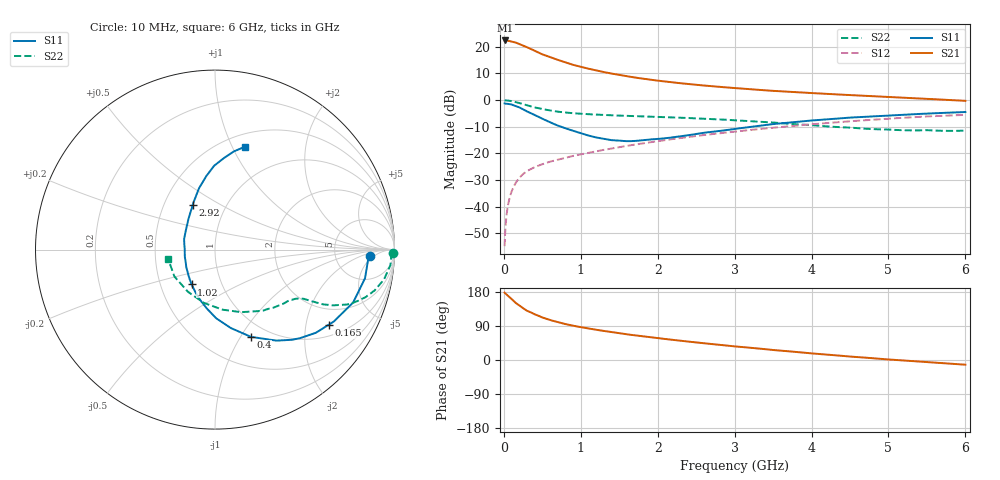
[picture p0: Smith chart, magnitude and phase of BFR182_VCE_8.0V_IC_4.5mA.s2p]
! Infineon Technologies  Discrete & RF Semiconductors
! BFR182
! VCE =  8.0 V,  IC =  4.5 mA
! Common Emitter S-Parameters:  Nov 2015
# GHz  S  MA  R  50
!  f  S11  S21  S12  S22
! GHz  MAG  ANG  MAG  ANG  MAG  ANG  MAG  ANG
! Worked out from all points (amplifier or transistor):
!   210 points, 10 MHz to 6 GHz, reference 50 ohm
!   highest |S21| = 22.4 dB at 20 MHz (marker M1)
!   |S21| within 3 dB of that: start of sweep to 336.1 MHz
!   unconditionally stable (mu >= 1): 1.172 GHz to 2.977 GHz
!   at 185 MHz: K = 0.30, MSG = 25.5 dB, |S12| = -29.8 dB
!   at 1.52 GHz: K = 1.05, MAG = 12.2 dB, |S12| = -17.6 dB
!   at 6 GHz: K = 0.88, MSG = 2.6 dB, |S12| = -5.6 dB
!   S11 on the Smith chart (normalised r, x): 10 MHz: 13, -3; 165 MHz: 1.37, -2.70; 400 MHz: 0.83, -1.11; 1.02 GHz: 0.72, -0.29; 2.92 GHz: 0.70, +0.37; 6 GHz: 0.63, +1.12
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0.01  0.8622 -2.2  13.08 177.7  0.0018 88.2  0.9902 -1.0
0.02  0.8544 -4.1  13.14 175.6  0.0038 91.1  0.9825 -2.1
0.05  0.851 -10.8  13.06 170.2  0.0099 83.8  0.9812 -5.1
0.1  0.8243 -20.9  12.54 161.1  0.019 78.9  0.9569 -9.9
0.15  0.7744 -31.1  12.1 151.3  0.0272 73.8  0.9189 -14.3
0.165  0.759 -33.5  11.83 149.2  0.0293 72.5  0.9066 -15.3
0.24  0.6838 -46.2  10.66 138.2  0.0394 67.6  0.8466 -19.7
0.3  0.6118 -56.0  9.839 130.1  0.046 64.2  0.796 -22.6
0.4  0.5248 -67.7  8.424 120.7  0.0548 61.5  0.727 -25.3
0.5  0.4457 -78.6  7.212 112.2  0.0623 59.7  0.6768 -26.8
0.6  0.3828 -89.0  6.387 105.4  0.0695 59.3  0.6364 -27.6
0.68  0.3409 -95.9  5.824 100.9  0.0744 59.5  0.6104 -28.1
0.8  0.2951 -105.8  5.079 94.8  0.0822 59.2  0.5816 -28.7
1.02  0.2337 -123.9  4.13 86.0  0.0965 60.0  0.5502 -29.7
1.4  0.1764 -158.3  3.136 73.6  0.1225 60.9  0.5162 -32.6
1.7  0.1702 174.8  2.648 65.2  0.1453 61.0  0.4965 -35.3
2.02  0.1868 153.9  2.293 57.3  0.1701 60.1  0.4818 -39.3
2.92  0.2763 116.9  1.713 37.6  0.2477 55.6  0.4232 -53.8
3.1  0.2989 112.6  1.636 34.2  0.2642 54.1  0.4076 -57.6
4.1  0.4228 95.4  1.327 15.9  0.3597 44.9  0.3279 -86.2
5.1  0.5205 83.4  1.123 0.1  0.4554 33.1  0.2739 -127.4
6  0.5957 73.9  0.966 -12.4  0.5265 20.4  0.2664 -169.0
